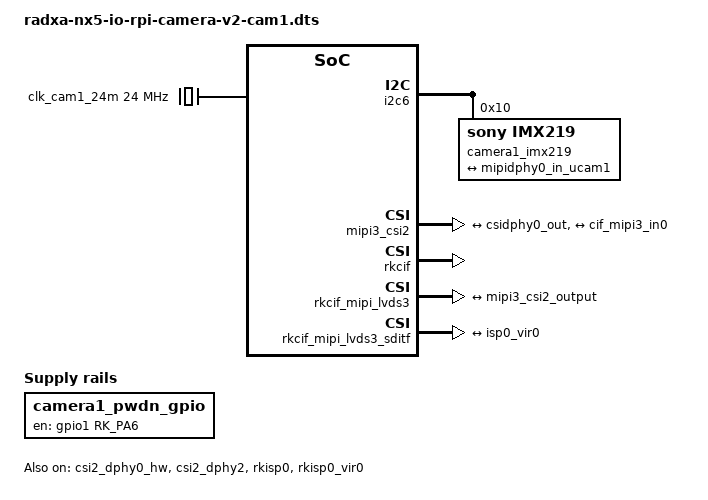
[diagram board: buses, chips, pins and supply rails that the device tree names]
/dts-v1/;
/plugin/;

#include <dt-bindings/gpio/gpio.h>
#include <dt-bindings/pinctrl/rockchip.h>

/ {
	metadata {
		title ="Enable Raspberry Pi Camera v2 on CAM1";
		compatible = "radxa,nx5-io";
		category = "camera";
		exclusive = "csi2_dphy2";
		description = "Enable Raspberry Pi Camera v2 on CAM1.";
	};
};

&{/} {
	camera1_pwdn_gpio: camera1-pwdn-gpio {
		compatible = "regulator-fixed";
		regulator-name = "camera1_pwdn_gpio";
		regulator-always-on;
		regulator-boot-on;
		enable-active-high;
		gpio = <&gpio1 RK_PA6 GPIO_ACTIVE_HIGH>;
		pinctrl-names = "default";
		pinctrl-0 = <&cam1_pwdn_gpio>;
	};

	clk_cam1_24m: external-camera-clock-24m {
		compatible = "fixed-clock";
		clock-frequency = <24000000>;
		clock-output-names = "clk_cam1_24m";
		#clock-cells = <0>;
	};
};

&i2c6 {
	status = "okay";
	#address-cells = <1>;
	#size-cells = <0>;

	camera1_imx219: camera1-imx219@10 {
		compatible = "sony,imx219";
		reg = <0x10>;

		clocks = <&clk_cam1_24m>;
		clock-names = "xvclk";

		rockchip,camera-module-index = <0>;
		rockchip,camera-module-facing = "back";
		rockchip,camera-module-name = "rpi-camera-v2";
		rockchip,camera-module-lens-name = "default";

		port {
			imx219_out1: endpoint {
				remote-endpoint = <&mipidphy0_in_ucam1>;
				data-lanes = <1 2>;
			};
		};
	};
};

&csi2_dphy0_hw {
	status = "okay";
};

&csi2_dphy2 {
	status = "okay";

	ports {
		#address-cells = <1>;
		#size-cells = <0>;

		port@0 {
			reg = <0>;
			#address-cells = <1>;
			#size-cells = <0>;

			mipidphy0_in_ucam1: endpoint@2 {
				reg = <2>;
				remote-endpoint = <&imx219_out1>;
				data-lanes = <1 2>;
			};
		};

		port@1 {
			reg = <1>;
			#address-cells = <1>;
			#size-cells = <0>;

			csidphy0_out: endpoint@0 {
				reg = <0>;
				remote-endpoint = <&mipi3_csi2_input>;
			};
		};
	};
};

&mipi3_csi2 {
	status = "okay";

	ports {
		#address-cells = <1>;
		#size-cells = <0>;

		port@0 {
			reg = <0>;
			#address-cells = <1>;
			#size-cells = <0>;

			mipi3_csi2_input: endpoint@1 {
				reg = <1>;
				remote-endpoint = <&csidphy0_out>;
			};
		};

		port@1 {
			reg = <1>;
			#address-cells = <1>;
			#size-cells = <0>;

			mipi3_csi2_output: endpoint@0 {
				reg = <0>;
				remote-endpoint = <&cif_mipi3_in0>;
			};
		};
	};
};

&rkcif {
	status = "okay";
};

&rkcif_mipi_lvds3 {
	status = "okay";

	port {
		cif_mipi3_in0: endpoint {
			remote-endpoint = <&mipi3_csi2_output>;
		};
	};
};

&rkcif_mipi_lvds3_sditf {
	status = "okay";

	port {
		mipi_lvds3_sditf: endpoint {
			remote-endpoint = <&isp0_vir0>;
		};
	};
};

&rkcif_mmu {
	status = "okay";
};

&isp0_mmu {
	status = "okay";
};

&rkisp0 {
	status = "okay";
};

&rkisp0_vir0 {
	status = "okay";

	port {
		#address-cells = <1>;
		#size-cells = <0>;

		isp0_vir0: endpoint@0 {
			reg = <0>;
			remote-endpoint = <&mipi_lvds3_sditf>;
		};
	};
};

&pinctrl {
	camera {
		cam1_pwdn_gpio: cam1-pwdn-gpio {
			rockchip,pins = <1 RK_PA6 RK_FUNC_GPIO &pcfg_pull_up>;
		};
	};
};
